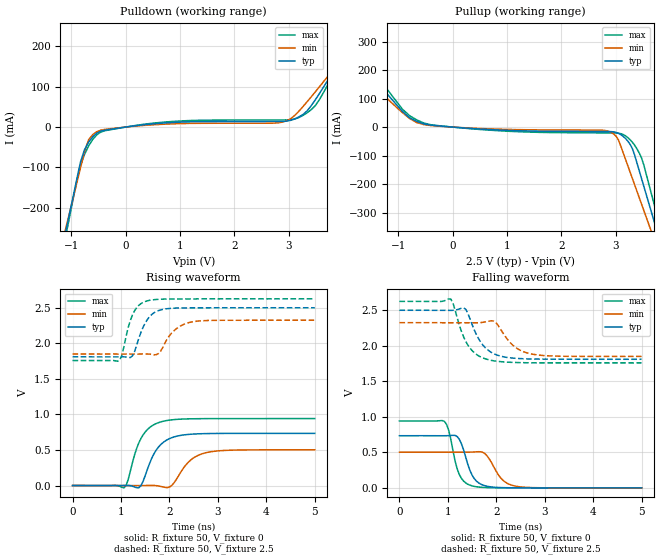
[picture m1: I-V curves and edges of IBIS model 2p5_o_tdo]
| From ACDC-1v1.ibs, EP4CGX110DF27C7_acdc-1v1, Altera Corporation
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[Model]   2p5_o_tdo
Model_type  Output
Polarity   Non-Inverting
Vmeas  = 1.1625
Rref   = 10M
Cref   = 0pF
Vref   = 0
| C_comp values for normal column I/O
C_comp 4.7pF   4.7pF   4.7pF
[Temperature Range] 25   85   0
[Voltage Range]  2.5   2.325   2.625
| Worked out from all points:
|   slope of the pulldown table from 0 to 0.375 V, typ, clamps not added: 59.4 ohm
|   slope of the pullup table from 0 to 0.375 V, typ, clamps not added: 70.7 ohm
|   rising waveform, R_fixture 50, V_fixture 0: 20-80 % time 336ps typ, 374ps min, 313ps max; typ from 0 V to 0.734 V
|   falling waveform, R_fixture 50, V_fixture 0: 20-80 % time 232ps typ, 289ps min, 199ps max; typ from 0.734 V to 0 V
|   rising waveform, R_fixture 50, V_fixture 2.5: 20-80 % time 265ps typ, 331ps min, 223ps max; typ from 1.81 V to 2.5 V
|   falling waveform, R_fixture 50, V_fixture 2.5: 20-80 % time 346ps typ, 381ps min, 331ps max; typ from 2.5 V to 1.81 V
[Pulldown]
| voltage   I (typ)   I (min)   I (max)
-2.5V     -1.152A    -1.021A    -1.22A
-1.136V   -280.7mA   -269.5mA   -293.4mA
-1.061V   -232.2mA   -227.7mA   -241.9mA
-909.1mV  -135.4mA   -144.1mA   -139mA
-757.6mV  -56.18mA   -60.59mA   -67.99mA
-530.3mV  -14.81mA   -11.38mA   -19.03mA
757.6mV   10.54mA    7.416mA    12.87mA
3.106V    20.11mA    28.46mA    19.76mA
3.485V    67.06mA    86.87mA    52.71mA
4.318V    242.4mA    227.8mA    254.1mA
4.47V     273.4mA    253.5mA    289.8mA
5V        378.3mA    343.8mA    408.7mA
[Pullup]
| voltage   I (typ)   I (min)   I (max)
-2.5V     400.6mA    336.4mA    456.4mA
-2.105V   314.1mA    264.2mA    357.8mA
-921.1mV  54.93mA    50.51mA    62.68mA
-657.9mV  19.83mA    15.63mA    25.1mA
657.9mV   -8.547mA   -6.201mA   -10.54mA
3.009V    -18.76mA   -32.43mA   -20.95mA
3.305V    -74.9mA    -179.5mA   -52.87mA
3.475V    -180.2mA   -269.9mA   -107.8mA
3.644V    -290.1mA   -360.2mA   -225.1mA
3.729V    -345.1mA   -405.5mA   -286.5mA
3.814V    -400.1mA   -450.6mA   -348mA
5V        -1.17A     -1.083A    -1.209A
[Ramp]
dV/dt_r   4.402e-001/3.356e-010  3.014e-001/3.735e-010  5.649e-001/3.127e-010
dV/dt_f   4.140e-001/3.456e-010  2.850e-001/3.811e-010  5.196e-001/3.309e-010
R_load = 50ohms
[Rising Waveform]
R_fixture   = 50
V_fixture   = 0
V_fixture_min = 0
V_fixture_max = 0
| time   V (typ)   V (min)   V (max)
0s        0V         0V         0V
1.06ns    743.5uV    -222.3uV   -32.57mV
1.149ns   1.245mV    -175.6uV   85.49mV
1.415ns   2.627mV    -246.3uV   665.4mV
1.636ns   385.8mV    1.588mV    838mV
1.813ns   570.8mV    -11.67mV   893.4mV
2.035ns   669.1mV    -6.437mV   922.9mV
2.389ns   718.6mV    327.4mV    937.4mV
2.744ns   730.1mV    459.6mV    940.5mV
5ns       733.7mV    502.3mV    941.5mV
[Falling Waveform]
R_fixture   = 50
V_fixture   = 0
V_fixture_min = 0
V_fixture_max = 0
| time   V (typ)   V (min)   V (max)
0s        733.7mV    502.3mV    941.5mV
927.2ps   733.6mV    502.4mV    936.4mV
1.016ns   735mV      502.3mV    812.3mV
1.149ns   737.8mV    502.2mV    377.6mV
1.237ns   682.2mV    502.2mV    186.3mV
1.503ns   174.6mV    503.7mV    27.12mV
1.769ns   28.84mV    479.1mV    4.731mV
2.123ns   3.109mV    115.5mV    476.8uV
2.389ns   586.8uV    25.06mV    84.75uV
5ns       2.63uV     1.841uV    5.383uV
[Rising Waveform]
R_fixture   = 50
V_fixture   = 2.5
V_fixture_min = 2.325
V_fixture_max = 2.625
| time   V (typ)   V (min)   V (max)
0s        1.81V      1.85V      1.758V
971.5ps   1.809V     1.849V     1.763V
1.016ns   1.81V      1.849V     1.828V
1.237ns   1.825V     1.849V     2.401V
1.37ns    2.075V     1.849V     2.536V
1.548ns   2.337V     1.85V      2.598V
1.769ns   2.459V     1.853V     2.618V
2.079ns   2.494V     2.167V     2.624V
2.478ns   2.499V     2.303V     2.624V
5ns       2.5V       2.325V     2.625V
[Falling Waveform]
R_fixture   = 50
V_fixture   = 2.5
V_fixture_min = 2.325
V_fixture_max = 2.625
| time   V (typ)   V (min)   V (max)
0s        2.5V       2.325V     2.625V
1.06ns    2.498V     2.324V     2.658V
1.326ns   2.534V     2.324V     2.123V
1.415ns   2.454V     2.324V     2.008V
1.636ns   2.097V     2.324V     1.858V
1.858ns   1.924V     2.348V     1.8V
1.991ns   1.876V     2.327V     1.784V
2.345ns   1.827V     2.005V     1.766V
2.699ns   1.815V     1.888V     1.76V
5ns       1.81V      1.85V      1.759V
